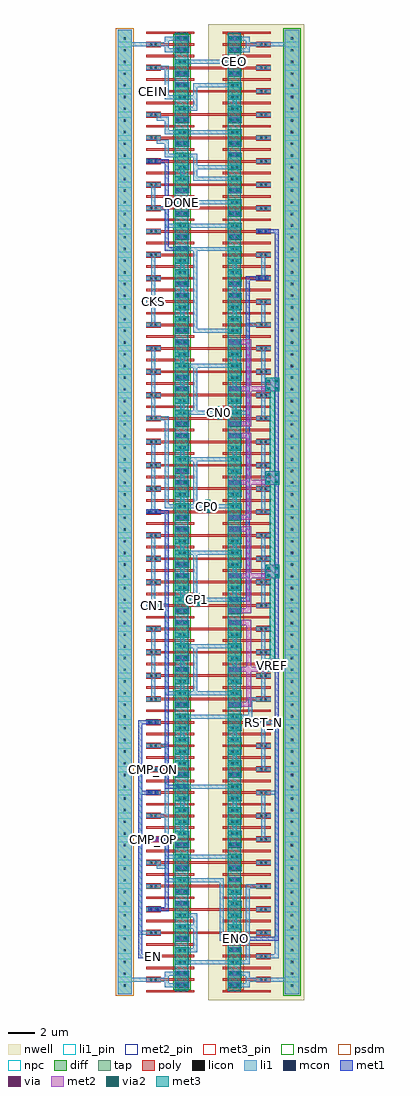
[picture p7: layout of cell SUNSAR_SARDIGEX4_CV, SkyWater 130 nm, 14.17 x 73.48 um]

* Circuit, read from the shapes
.subckt SUNSAR_SARDIGEX4_CV AVDD AVSS CEIN CEO CKS CMP_ON CMP_OP CN0 CN1 CP0 CP1 DONE EN ENO RST_N VREF
XM1 AVSS AVSS AVSS AVSS sky130_fd_pr__nfet_01v8 w=1.08 l=0.18 m=2
XM2 SUNSAR_SARMRYX1_CV_0/SUNSAR_SAREMX1_CV_0/SUNSAR_NCHDL_11/D EN SUNSAR_SARMRYX1_CV_0/SUNSAR_SAREMX1_CV_0/SUNSAR_NCHDL_9/G AVSS sky130_fd_pr__nfet_01v8 w=1.08 l=0.18
XM3 SUNSAR_SARMRYX1_CV_0/SUNSAR_SAREMX1_CV_0/SUNSAR_NCHDL_11/D CMP_ON AVSS AVSS sky130_fd_pr__nfet_01v8 w=1.08 l=0.18
XM4 AVSS CMP_OP SUNSAR_SARMRYX1_CV_0/SUNSAR_SAREMX1_CV_0/SUNSAR_NCHDL_11/D AVSS sky130_fd_pr__nfet_01v8 w=1.08 l=0.18
XM5 ENO SUNSAR_SARMRYX1_CV_0/SUNSAR_SAREMX1_CV_0/SUNSAR_NCHDL_9/G AVSS AVSS sky130_fd_pr__nfet_01v8 w=1.08 l=0.18
XM6 SUNSAR_SARMRYX1_CV_0/SUNSAR_SARLTX1_CV_1/LCK_N ENO AVSS AVSS sky130_fd_pr__nfet_01v8 w=1.08 l=0.18
XM7 SUNSAR_SARMRYX1_CV_0/SUNSAR_SARLTX1_CV_1/SUNSAR_NCHDL_7/D CMP_OP AVSS AVSS sky130_fd_pr__nfet_01v8 w=1.08 l=0.18
XM8 SUNSAR_SARMRYX1_CV_0/SUNSAR_SARLTX1_CV_1/SUNSAR_NCHDL_6/D SUNSAR_SARMRYX1_CV_0/SUNSAR_SARLTX1_CV_1/LCK_N SUNSAR_SARMRYX1_CV_0/SUNSAR_SARLTX1_CV_1/SUNSAR_NCHDL_7/D AVSS sky130_fd_pr__nfet_01v8 w=1.08 l=0.18
XM9 SUNSAR_SWX4_CV_3/A EN SUNSAR_SARMRYX1_CV_0/SUNSAR_SARLTX1_CV_1/SUNSAR_NCHDL_6/D AVSS sky130_fd_pr__nfet_01v8 w=1.08 l=0.18
XM10 SUNSAR_SARMRYX1_CV_0/SUNSAR_SARLTX1_CV_2/SUNSAR_NCHDL_7/D CMP_ON AVSS AVSS sky130_fd_pr__nfet_01v8 w=1.08 l=0.18
XM11 SUNSAR_SARMRYX1_CV_0/SUNSAR_SARLTX1_CV_2/SUNSAR_NCHDL_6/D SUNSAR_SARMRYX1_CV_0/SUNSAR_SARLTX1_CV_1/LCK_N SUNSAR_SARMRYX1_CV_0/SUNSAR_SARLTX1_CV_2/SUNSAR_NCHDL_7/D AVSS sky130_fd_pr__nfet_01v8 w=1.08 l=0.18
XM12 SUNSAR_SWX4_CV_1/A EN SUNSAR_SARMRYX1_CV_0/SUNSAR_SARLTX1_CV_2/SUNSAR_NCHDL_6/D AVSS sky130_fd_pr__nfet_01v8 w=1.08 l=0.18
XM13 CN1 SUNSAR_SWX4_CV_1/A AVSS AVSS sky130_fd_pr__nfet_01v8 w=1.08 l=0.18 m=4
XM14 CP1 CN1 AVSS AVSS sky130_fd_pr__nfet_01v8 w=1.08 l=0.18 m=4
XM15 CP0 SUNSAR_SWX4_CV_3/A AVSS AVSS sky130_fd_pr__nfet_01v8 w=1.08 l=0.18 m=4
XM16 CN0 CP0 AVSS AVSS sky130_fd_pr__nfet_01v8 w=1.08 l=0.18 m=4
XM17 SUNSAR_SARCEX1_CV_5/SUNSAR_NCHDL_12/D CKS AVSS AVSS sky130_fd_pr__nfet_01v8 w=1.08 l=0.18 m=2
XM18 SUNSAR_SARCEX1_CV_5/SUNSAR_NCHDL_10/D CKS AVSS AVSS sky130_fd_pr__nfet_01v8 w=1.08 l=0.18
XM19 SUNSAR_NDX1_CV_27/B CKS SUNSAR_SARCEX1_CV_5/SUNSAR_NCHDL_10/D AVSS sky130_fd_pr__nfet_01v8 w=1.08 l=0.18
XM20 SUNSAR_IVX1_CV_28/A ENO AVSS AVSS sky130_fd_pr__nfet_01v8 w=1.08 l=0.18
XM21 DONE SUNSAR_IVX1_CV_28/A AVSS AVSS sky130_fd_pr__nfet_01v8 w=1.08 l=0.18
XM22 SUNSAR_NDX1_CV_27/SUNSAR_NCHDL_0/D SUNSAR_IVX1_CV_28/A AVSS AVSS sky130_fd_pr__nfet_01v8 w=1.08 l=0.18
XM23 SUNSAR_IVX1_CV_26/A SUNSAR_NDX1_CV_27/B SUNSAR_NDX1_CV_27/SUNSAR_NCHDL_0/D AVSS sky130_fd_pr__nfet_01v8 w=1.08 l=0.18
XM24 SUNSAR_NRX1_CV_25/A SUNSAR_IVX1_CV_26/A AVSS AVSS sky130_fd_pr__nfet_01v8 w=1.08 l=0.18
XM25 SUNSAR_IVX1_CV_24/A SUNSAR_NRX1_CV_25/A AVSS AVSS sky130_fd_pr__nfet_01v8 w=1.08 l=0.18
XM26 AVSS CEIN SUNSAR_IVX1_CV_24/A AVSS sky130_fd_pr__nfet_01v8 w=1.08 l=0.18
XM27 CEO SUNSAR_IVX1_CV_24/A AVSS AVSS sky130_fd_pr__nfet_01v8 w=1.08 l=0.18
XM28 AVDD AVDD AVDD AVDD sky130_fd_pr__pfet_01v8 w=1.08 l=0.18 m=2
XM29 AVDD RST_N SUNSAR_SARMRYX1_CV_0/SUNSAR_SAREMX1_CV_0/SUNSAR_NCHDL_9/G AVDD sky130_fd_pr__pfet_01v8 w=1.08 l=0.18
XM30 SUNSAR_SARMRYX1_CV_0/SUNSAR_SAREMX1_CV_0/SUNSAR_PCHDL_7/D CMP_ON ENO AVDD sky130_fd_pr__pfet_01v8 w=1.08 l=0.18
XM31 SUNSAR_SARMRYX1_CV_0/SUNSAR_SAREMX1_CV_0/SUNSAR_PCHDL_6/D CMP_OP SUNSAR_SARMRYX1_CV_0/SUNSAR_SAREMX1_CV_0/SUNSAR_PCHDL_7/D AVDD sky130_fd_pr__pfet_01v8 w=1.08 l=0.18
XM32 AVDD SUNSAR_SARMRYX1_CV_0/SUNSAR_SAREMX1_CV_0/SUNSAR_NCHDL_9/G SUNSAR_SARMRYX1_CV_0/SUNSAR_SAREMX1_CV_0/SUNSAR_PCHDL_6/D AVDD sky130_fd_pr__pfet_01v8 w=1.08 l=0.18
XM33 SUNSAR_SARMRYX1_CV_0/SUNSAR_SARLTX1_CV_1/LCK_N ENO AVDD AVDD sky130_fd_pr__pfet_01v8 w=1.08 l=0.18
XM34 SUNSAR_SARMRYX1_CV_0/SUNSAR_SARLTX1_CV_1/SUNSAR_PCHDL_4/D RST_N AVDD AVDD sky130_fd_pr__pfet_01v8 w=1.08 l=0.18
XM35 SUNSAR_SARMRYX1_CV_0/SUNSAR_SARLTX1_CV_1/SUNSAR_PCHDL_3/D RST_N SUNSAR_SARMRYX1_CV_0/SUNSAR_SARLTX1_CV_1/SUNSAR_PCHDL_4/D AVDD sky130_fd_pr__pfet_01v8 w=1.08 l=0.18
XM36 SUNSAR_SWX4_CV_3/A RST_N SUNSAR_SARMRYX1_CV_0/SUNSAR_SARLTX1_CV_1/SUNSAR_PCHDL_3/D AVDD sky130_fd_pr__pfet_01v8 w=1.08 l=0.18
XM37 SUNSAR_SARMRYX1_CV_0/SUNSAR_SARLTX1_CV_2/SUNSAR_PCHDL_4/D RST_N AVDD AVDD sky130_fd_pr__pfet_01v8 w=1.08 l=0.18
XM38 SUNSAR_SARMRYX1_CV_0/SUNSAR_SARLTX1_CV_2/SUNSAR_PCHDL_3/D RST_N SUNSAR_SARMRYX1_CV_0/SUNSAR_SARLTX1_CV_2/SUNSAR_PCHDL_4/D AVDD sky130_fd_pr__pfet_01v8 w=1.08 l=0.18
XM39 SUNSAR_SWX4_CV_1/A RST_N SUNSAR_SARMRYX1_CV_0/SUNSAR_SARLTX1_CV_2/SUNSAR_PCHDL_3/D AVDD sky130_fd_pr__pfet_01v8 w=1.08 l=0.18
XM40 CN1 SUNSAR_SWX4_CV_1/A VREF AVDD sky130_fd_pr__pfet_01v8 w=1.08 l=0.18 m=4
XM41 CP1 CN1 VREF AVDD sky130_fd_pr__pfet_01v8 w=1.08 l=0.18 m=4
XM42 CP0 SUNSAR_SWX4_CV_3/A VREF AVDD sky130_fd_pr__pfet_01v8 w=1.08 l=0.18 m=4
XM43 CN0 CP0 VREF AVDD sky130_fd_pr__pfet_01v8 w=1.08 l=0.18 m=4
XM44 SUNSAR_SARCEX1_CV_5/SUNSAR_PCHDL_8/D CN0 SUNSAR_NDX1_CV_27/B AVDD sky130_fd_pr__pfet_01v8 w=1.08 l=0.18
XM45 AVDD CN0 SUNSAR_SARCEX1_CV_5/SUNSAR_PCHDL_8/D AVDD sky130_fd_pr__pfet_01v8 w=1.08 l=0.18
XM46 SUNSAR_SARCEX1_CV_5/SUNSAR_PCHDL_6/D CP1 AVDD AVDD sky130_fd_pr__pfet_01v8 w=1.08 l=0.18
XM47 SUNSAR_NDX1_CV_27/B CP1 SUNSAR_SARCEX1_CV_5/SUNSAR_PCHDL_6/D AVDD sky130_fd_pr__pfet_01v8 w=1.08 l=0.18
XM48 SUNSAR_IVX1_CV_28/A ENO AVDD AVDD sky130_fd_pr__pfet_01v8 w=1.08 l=0.18
XM49 DONE SUNSAR_IVX1_CV_28/A AVDD AVDD sky130_fd_pr__pfet_01v8 w=1.08 l=0.18
XM50 SUNSAR_IVX1_CV_26/A SUNSAR_IVX1_CV_28/A AVDD AVDD sky130_fd_pr__pfet_01v8 w=1.08 l=0.18
XM51 AVDD SUNSAR_NDX1_CV_27/B SUNSAR_IVX1_CV_26/A AVDD sky130_fd_pr__pfet_01v8 w=1.08 l=0.18
XM52 SUNSAR_NRX1_CV_25/A SUNSAR_IVX1_CV_26/A AVDD AVDD sky130_fd_pr__pfet_01v8 w=1.08 l=0.18
XM53 SUNSAR_NRX1_CV_25/SUNSAR_PCHDL_2/D SUNSAR_NRX1_CV_25/A AVDD AVDD sky130_fd_pr__pfet_01v8 w=1.08 l=0.18
XM54 SUNSAR_IVX1_CV_24/A CEIN SUNSAR_NRX1_CV_25/SUNSAR_PCHDL_2/D AVDD sky130_fd_pr__pfet_01v8 w=1.08 l=0.18
XM55 CEO SUNSAR_IVX1_CV_24/A AVDD AVDD sky130_fd_pr__pfet_01v8 w=1.08 l=0.18
.ends

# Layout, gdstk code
import gdstk
lib = gdstk.Library(unit=1e-6, precision=1e-09)
def R(c, l, rs):  # rectangles x0, y0, x1, y1
    for r in rs: c.add(gdstk.rectangle(r[:2], r[2:], *l))
def A(c, l, x, y, w, h, nx, ny, dx, dy):  # array of equal rectangles
    R(c, l, [(x+i*dx, y+j*dy, x+i*dx+w, y+j*dy+h) for i in range(nx) for j in range(ny)])
nwell = (64, 20)
diff = (65, 20)
tap = (65, 44)
poly = (66, 20)
licon = (66, 44)
li1_pin = (67, 16)
li1 = (67, 20)
mcon = (67, 44)
met1 = (68, 20)
via = (68, 44)
met2_pin = (69, 16)
met2 = (69, 20)
via2 = (69, 44)
met3_pin = (70, 16)
met3 = (70, 20)
nsdm = (93, 44)
psdm = (94, 20)
npc = (95, 20)

sunsar_cut_m1m4_2x1 = lib.new_cell('SUNSAR_cut_M1M4_2x1')
R(sunsar_cut_m1m4_2x1, li1, [(0,0,0.92,0.34)])
R(sunsar_cut_m1m4_2x1, mcon, [(0.115,0.085,0.285,0.255), (0.635,0.085,0.805,0.255)])
R(sunsar_cut_m1m4_2x1, met1, [(0,0,0.92,0.34)])
R(sunsar_cut_m1m4_2x1, via, [(0.125,0.095,0.275,0.245), (0.645,0.095,0.795,0.245)])
R(sunsar_cut_m1m4_2x1, met2, [(0,0,1,0.38)])
R(sunsar_cut_m1m4_2x1, via2, [(0.12,0.09,0.32,0.29), (0.68,0.09,0.88,0.29)])
R(sunsar_cut_m1m4_2x1, met3, [(0,0,1,0.38)])

sunsar_pchdl = lib.new_cell('SUNSAR_PCHDL')
R(sunsar_pchdl, nwell, [(0,-0.66,7.2,2.42)])
R(sunsar_pchdl, diff, [(1.44,0.22,2.52,1.54)])
R(sunsar_pchdl, tap, [(5.76,-0.22,6.84,1.98)])
A(sunsar_pchdl, poly, 1.08, -0.09, 3.6, 0.18, 1, 3, 0, 0.88)
R(sunsar_pchdl, poly, [(3.6,0.66,4.68,0.79), (3.6,0.97,4.68,1.1)])
R(sunsar_pchdl, licon, [(1.725,0.355,1.895,0.525), (2.065,0.355,2.235,0.525), (6.215,0.355,6.385,0.525), (3.885,0.795,4.055,0.965), (4.225,0.795,4.395,0.965), (1.725,1.235,1.895,1.405), (2.065,1.235,2.235,1.405), (6.215,1.235,6.385,1.405)])
R(sunsar_pchdl, li1_pin, [(1.44,0.29,2.52,0.59), (5.76,0.66,6.84,1.1), (3.6,0.73,4.68,1.03), (1.44,1.17,2.52,1.47)])
R(sunsar_pchdl, li1, [(5.76,-0.22,6.84,1.98), (1.44,0.29,2.52,0.59), (3.6,0.73,4.68,1.03), (1.44,1.17,2.52,1.47)])
R(sunsar_pchdl, nsdm, [(5.635,-0.345,6.965,2.105)])
R(sunsar_pchdl, psdm, [(1.315,0.095,2.645,1.665)])
R(sunsar_pchdl, npc, [(3.785,0.695,4.495,1.065)])
sunsar_pchdl.add(gdstk.Label('D', (1.98,1.32), layer=67, texttype=5))
sunsar_pchdl.add(gdstk.Label('G', (4.14,0.88), layer=67, texttype=5))
sunsar_pchdl.add(gdstk.Label('S', (1.98,0.44), layer=67, texttype=5))
sunsar_pchdl.add(gdstk.Label('B', (6.3,0.88), layer=67, texttype=5))

sunsar_nchdl = lib.new_cell('SUNSAR_NCHDL')
R(sunsar_nchdl, diff, [(3.78,0.22,4.86,1.54)])
R(sunsar_nchdl, tap, [(-0.54,-0.22,0.54,1.98)])
A(sunsar_nchdl, poly, 1.62, -0.09, 3.6, 0.18, 1, 3, 0, 0.88)
R(sunsar_nchdl, poly, [(1.62,0.66,2.7,0.79), (1.62,0.97,2.7,1.1)])
R(sunsar_nchdl, licon, [(-0.085,0.355,0.085,0.525), (4.065,0.355,4.235,0.525), (4.405,0.355,4.575,0.525), (1.905,0.795,2.075,0.965), (2.245,0.795,2.415,0.965), (-0.085,1.235,0.085,1.405), (4.065,1.235,4.235,1.405), (4.405,1.235,4.575,1.405)])
R(sunsar_nchdl, li1_pin, [(3.78,0.29,4.86,0.59), (-0.54,0.66,0.54,1.1), (1.62,0.73,2.7,1.03), (3.78,1.17,4.86,1.47)])
R(sunsar_nchdl, li1, [(-0.54,-0.22,0.54,1.98), (3.78,0.29,4.86,0.59), (1.62,0.73,2.7,1.03), (3.78,1.17,4.86,1.47)])
R(sunsar_nchdl, nsdm, [(3.655,0.095,4.985,1.665)])
R(sunsar_nchdl, psdm, [(-0.665,-0.345,0.665,2.105)])
R(sunsar_nchdl, npc, [(1.805,0.695,2.515,1.065)])
sunsar_nchdl.add(gdstk.Label('D', (4.32,1.32), layer=67, texttype=5))
sunsar_nchdl.add(gdstk.Label('G', (2.16,0.88), layer=67, texttype=5))
sunsar_nchdl.add(gdstk.Label('S', (4.32,0.44), layer=67, texttype=5))
sunsar_nchdl.add(gdstk.Label('B', (0,0.88), layer=67, texttype=5))

sunsar_saremx1_cv = lib.new_cell('SUNSAR_SAREMX1_CV')
A(sunsar_saremx1_cv, poly, 1.62, 2.55, 9.36, 0.18, 1, 3, 0, 1.76)
A(sunsar_saremx1_cv, li1_pin, 1.62, 0.73, 1.08, 0.3, 1, 3, 0, 1.76)
R(sunsar_saremx1_cv, li1_pin, [(-0.54,0.66,0.54,1.1), (12.06,0.66,13.14,1.1), (9.9,0.73,10.98,1.03), (7.74,2.05,8.82,2.35)])
A(sunsar_saremx1_cv, li1, 1.62, 0.73, 1.08, 0.3, 1, 3, 0, 1.76)
R(sunsar_saremx1_cv, li1, [(3.78,0.29,9.42,0.59), (9.12,0.59,9.42,6.01), (-0.54,0.66,0.54,1.1), (12.06,0.66,13.14,1.1), (9.9,0.73,10.98,1.03), (4.32,1.17,5.46,1.47), (5.16,1.47,5.46,2.93), (7.14,2.05,8.82,2.35), (7.14,2.35,7.44,6.45), (4.32,2.93,5.46,3.23), (8.13,2.93,8.43,4.11), (5.16,3.23,5.46,3.81), (4.32,3.81,5.46,4.11), (8.13,4.69,8.43,5.87), (9.12,6.01,10.44,6.31), (4.32,6.45,7.44,6.75)])
R(sunsar_saremx1_cv, met3_pin, [(3.78,0,4.78,7.04), (7.74,0,8.74,7.04)])
R(sunsar_saremx1_cv, met3, [(3.78,0,4.78,7.04), (7.74,0,8.74,7.04)])
A(sunsar_saremx1_cv, nsdm, 3.655, 1.665, 1.33, 0.19, 1, 3, 0, 1.76)
A(sunsar_saremx1_cv, psdm, 7.615, 1.665, 1.33, 0.19, 1, 3, 0, 1.76)
sunsar_saremx1_cv.add(gdstk.Reference(sunsar_cut_m1m4_2x1, (3.78,5.57)))
sunsar_saremx1_cv.add(gdstk.Reference(sunsar_cut_m1m4_2x1, (3.78,4.69)))
sunsar_saremx1_cv.add(gdstk.Reference(sunsar_cut_m1m4_2x1, (3.78,2.05)))
sunsar_saremx1_cv.add(gdstk.Reference(sunsar_cut_m1m4_2x1, (7.74,6.45)))
sunsar_saremx1_cv.add(gdstk.Reference(sunsar_cut_m1m4_2x1, (7.74,1.17)))
sunsar_saremx1_cv.add(gdstk.Reference(sunsar_pchdl, (6.3,5.28)))
sunsar_saremx1_cv.add(gdstk.Reference(sunsar_pchdl, (6.3,3.52)))
sunsar_saremx1_cv.add(gdstk.Reference(sunsar_pchdl, (6.3,1.76)))
sunsar_saremx1_cv.add(gdstk.Reference(sunsar_pchdl, (6.3,0)))
sunsar_saremx1_cv.add(gdstk.Reference(sunsar_nchdl, (0,5.28)))
sunsar_saremx1_cv.add(gdstk.Reference(sunsar_nchdl, (0,3.52)))
sunsar_saremx1_cv.add(gdstk.Reference(sunsar_nchdl, (0,1.76)))
sunsar_saremx1_cv.add(gdstk.Reference(sunsar_nchdl, (0,0)))
sunsar_saremx1_cv.add(gdstk.Label('A', (2.16,4.4), layer=67, texttype=5))
sunsar_saremx1_cv.add(gdstk.Label('B', (2.16,2.64), layer=67, texttype=5))
sunsar_saremx1_cv.add(gdstk.Label('EN', (2.16,0.88), layer=67, texttype=5))
sunsar_saremx1_cv.add(gdstk.Label('ENO', (8.28,2.2), layer=67, texttype=5))
sunsar_saremx1_cv.add(gdstk.Label('RST_N', (10.44,0.88), layer=67, texttype=5))
sunsar_saremx1_cv.add(gdstk.Label('BULKP', (12.6,0.88), layer=67, texttype=5))
sunsar_saremx1_cv.add(gdstk.Label('BULKN', (0,0.88), layer=67, texttype=5))
sunsar_saremx1_cv.add(gdstk.Label('AVDD', (8.24,3.52), layer=70, texttype=5))
sunsar_saremx1_cv.add(gdstk.Label('AVSS', (4.28,3.52), layer=70, texttype=5))

sunsar_sarltx1_cv = lib.new_cell('SUNSAR_SARLTX1_CV')
A(sunsar_sarltx1_cv, li1_pin, 1.62, 0.73, 1.08, 0.3, 1, 3, 0, 1.76)
R(sunsar_sarltx1_cv, li1_pin, [(-0.54,0.66,0.54,1.1), (12.06,0.66,13.14,1.1), (9.9,4.25,10.98,4.55), (3.78,4.69,4.86,4.99)])
A(sunsar_sarltx1_cv, li1, 1.62, 0.73, 1.08, 0.3, 1, 3, 0, 1.76)
R(sunsar_sarltx1_cv, li1, [(-0.54,0.66,0.54,1.1), (12.06,0.66,13.14,1.1), (10.29,0.73,10.59,4.25), (4.17,1.17,4.47,2.35), (8.13,1.17,8.43,2.35), (4.17,2.93,4.47,4.11), (8.13,2.93,8.43,4.11), (9.9,4.25,10.98,4.55), (3.78,4.69,8.28,4.99)])
R(sunsar_sarltx1_cv, met3_pin, [(3.78,0,4.78,5.28), (7.74,0,8.74,5.28)])
R(sunsar_sarltx1_cv, met3, [(3.78,0,4.78,5.28), (7.74,0,8.74,5.28)])
R(sunsar_sarltx1_cv, nsdm, [(3.655,1.665,4.985,1.855), (3.655,3.425,4.985,3.615)])
R(sunsar_sarltx1_cv, psdm, [(7.615,1.665,8.945,1.855), (7.615,3.425,8.945,3.615)])
sunsar_sarltx1_cv.add(gdstk.Reference(sunsar_cut_m1m4_2x1, (3.78,0.29)))
sunsar_sarltx1_cv.add(gdstk.Reference(sunsar_cut_m1m4_2x1, (7.74,0.29)))
sunsar_sarltx1_cv.add(gdstk.Reference(sunsar_pchdl, (6.3,3.52)))
sunsar_sarltx1_cv.add(gdstk.Reference(sunsar_pchdl, (6.3,1.76)))
sunsar_sarltx1_cv.add(gdstk.Reference(sunsar_pchdl, (6.3,0)))
sunsar_sarltx1_cv.add(gdstk.Reference(sunsar_nchdl, (0,3.52)))
sunsar_sarltx1_cv.add(gdstk.Reference(sunsar_nchdl, (0,1.76)))
sunsar_sarltx1_cv.add(gdstk.Reference(sunsar_nchdl, (0,0)))
sunsar_sarltx1_cv.add(gdstk.Label('A', (2.16,0.88), layer=67, texttype=5))
sunsar_sarltx1_cv.add(gdstk.Label('CHL', (4.32,4.84), layer=67, texttype=5))
sunsar_sarltx1_cv.add(gdstk.Label('RST_N', (10.44,4.4), layer=67, texttype=5))
sunsar_sarltx1_cv.add(gdstk.Label('EN', (2.16,4.4), layer=67, texttype=5))
sunsar_sarltx1_cv.add(gdstk.Label('LCK_N', (2.16,2.64), layer=67, texttype=5))
sunsar_sarltx1_cv.add(gdstk.Label('BULKP', (12.6,0.88), layer=67, texttype=5))
sunsar_sarltx1_cv.add(gdstk.Label('BULKN', (0,0.88), layer=67, texttype=5))
sunsar_sarltx1_cv.add(gdstk.Label('AVDD', (8.24,2.64), layer=70, texttype=5))
sunsar_sarltx1_cv.add(gdstk.Label('AVSS', (4.28,2.64), layer=70, texttype=5))

sunsar_cut_m1m2_2x1 = lib.new_cell('SUNSAR_cut_M1M2_2x1')
R(sunsar_cut_m1m2_2x1, li1, [(0,0,0.92,0.34)])
R(sunsar_cut_m1m2_2x1, mcon, [(0.115,0.085,0.285,0.255), (0.635,0.085,0.805,0.255)])
R(sunsar_cut_m1m2_2x1, met1, [(0,0,0.92,0.34)])

sunsar_ivx1_cv = lib.new_cell('SUNSAR_IVX1_CV')
R(sunsar_ivx1_cv, poly, [(1.62,0.79,10.98,0.97)])
R(sunsar_ivx1_cv, li1_pin, [(-0.54,0.66,0.54,1.1), (12.06,0.66,13.14,1.1), (1.62,0.73,2.7,1.03), (3.78,1.17,4.86,1.47)])
R(sunsar_ivx1_cv, li1, [(-0.54,0.66,0.54,1.1), (12.06,0.66,13.14,1.1), (1.62,0.73,2.7,1.03), (3.78,1.17,8.28,1.47)])
R(sunsar_ivx1_cv, met3_pin, [(3.78,0,4.78,1.76), (7.74,0,8.74,1.76)])
R(sunsar_ivx1_cv, met3, [(3.78,0,4.78,1.76), (7.74,0,8.74,1.76)])
sunsar_ivx1_cv.add(gdstk.Reference(sunsar_nchdl, (0,0)))
sunsar_ivx1_cv.add(gdstk.Reference(sunsar_pchdl, (6.3,0)))
sunsar_ivx1_cv.add(gdstk.Reference(sunsar_cut_m1m4_2x1, (7.74,0.29)))
sunsar_ivx1_cv.add(gdstk.Reference(sunsar_cut_m1m4_2x1, (3.78,0.29)))
sunsar_ivx1_cv.add(gdstk.Label('A', (2.16,0.88), layer=67, texttype=5))
sunsar_ivx1_cv.add(gdstk.Label('Y', (4.32,1.32), layer=67, texttype=5))
sunsar_ivx1_cv.add(gdstk.Label('BULKP', (12.6,0.88), layer=67, texttype=5))
sunsar_ivx1_cv.add(gdstk.Label('BULKN', (0,0.88), layer=67, texttype=5))
sunsar_ivx1_cv.add(gdstk.Label('AVDD', (8.24,0.88), layer=70, texttype=5))
sunsar_ivx1_cv.add(gdstk.Label('AVSS', (4.28,0.88), layer=70, texttype=5))

sunsar_tapcellb_cv = lib.new_cell('SUNSAR_TAPCELLB_CV')
R(sunsar_tapcellb_cv, li1, [(3,0.29,4.32,0.59), (8.28,0.29,9.42,0.59), (3,0.59,3.3,0.73), (9.12,0.59,9.42,0.73), (-0.54,0.73,3.3,1.03), (9.12,0.73,13.14,1.03), (3,1.03,3.3,1.17), (9.12,1.03,9.42,1.17), (3,1.17,4.32,1.47), (8.28,1.17,9.42,1.47)])
R(sunsar_tapcellb_cv, met3_pin, [(3.78,0,4.78,1.76), (7.74,0,8.74,1.76)])
R(sunsar_tapcellb_cv, met3, [(3.78,0,4.78,1.76), (7.74,0,8.74,1.76)])
sunsar_tapcellb_cv.add(gdstk.Reference(sunsar_nchdl, (0,0)))
sunsar_tapcellb_cv.add(gdstk.Reference(sunsar_pchdl, (6.3,0)))
sunsar_tapcellb_cv.add(gdstk.Reference(sunsar_cut_m1m4_2x1, (7.74,1.17)))
sunsar_tapcellb_cv.add(gdstk.Reference(sunsar_cut_m1m4_2x1, (7.74,0.29)))
sunsar_tapcellb_cv.add(gdstk.Reference(sunsar_cut_m1m4_2x1, (3.78,1.17)))
sunsar_tapcellb_cv.add(gdstk.Reference(sunsar_cut_m1m4_2x1, (3.78,0.29)))
sunsar_tapcellb_cv.add(gdstk.Label('AVDD', (8.24,0.88), layer=70, texttype=5))
sunsar_tapcellb_cv.add(gdstk.Label('AVSS', (4.28,0.88), layer=70, texttype=5))

sunsar_sarmryx1_cv = lib.new_cell('SUNSAR_SARMRYX1_CV')
R(sunsar_sarmryx1_cv, li1_pin, [(1.62,2.49,2.7,2.79), (7.74,3.81,8.82,4.11), (1.62,11.29,2.7,11.59), (3.78,15.25,4.86,15.55), (1.62,16.57,2.7,16.87), (9.9,20.09,10.98,20.39), (3.78,20.53,4.86,20.83)])
R(sunsar_sarmryx1_cv, li1, [(1.62,2.49,2.7,2.79), (10.44,2.49,11.58,2.79), (11.28,2.79,11.58,14.81), (7.74,3.81,8.82,4.11), (1.02,4.25,2.16,4.55), (1.02,4.55,1.32,16.57), (3,8.21,4.32,8.51), (3,8.51,3.3,9.23), (2.4,9.23,3.3,9.53), (2.4,9.53,2.7,9.83), (3,9.97,4.32,10.27), (3,10.27,3.3,13.05), (1.62,11.29,2.7,11.59), (2.16,13.05,3.3,13.35), (3,13.35,3.3,18.33), (10.44,14.81,11.58,15.11), (11.28,15.11,11.58,20.09), (3.78,15.25,4.86,15.55), (1.02,16.57,2.7,16.87), (2.16,18.33,3.3,18.63), (9.9,20.09,11.58,20.39), (3.78,20.53,4.86,20.83)])
R(sunsar_sarmryx1_cv, met1, [(1.02,2.49,2.16,2.79), (1.02,2.79,1.32,14.81), (2.16,6.01,3.3,6.31), (3,6.31,3.3,11.29), (2.16,11.29,3.3,11.59), (1.02,14.81,2.16,15.11), (1.02,15.11,1.32,20.09), (1.02,20.09,2.16,20.39)])
R(sunsar_sarmryx1_cv, met3_pin, [(3.78,0,4.78,21.12), (7.74,0,8.74,21.12)])
R(sunsar_sarmryx1_cv, met3, [(3.78,0,4.78,21.12), (7.74,0,8.74,21.12)])
R(sunsar_sarmryx1_cv, nsdm, [(3.655,1.665,4.985,1.855), (3.655,8.705,4.985,8.895), (3.655,10.465,4.985,10.655), (3.655,15.745,4.985,15.935)])
R(sunsar_sarmryx1_cv, psdm, [(7.615,1.665,8.945,1.855), (7.615,8.705,8.945,8.895), (7.615,10.465,8.945,10.655), (7.615,15.745,8.945,15.935)])
sunsar_sarmryx1_cv.add(gdstk.Reference(sunsar_saremx1_cv, (0,1.76)))
sunsar_sarmryx1_cv.add(gdstk.Reference(sunsar_sarltx1_cv, (0,10.56)))
sunsar_sarmryx1_cv.add(gdstk.Reference(sunsar_sarltx1_cv, (0,15.84)))
sunsar_sarmryx1_cv.add(gdstk.Reference(sunsar_cut_m1m2_2x1, (1.62,14.81)))
sunsar_sarmryx1_cv.add(gdstk.Reference(sunsar_cut_m1m2_2x1, (1.62,20.09)))
sunsar_sarmryx1_cv.add(gdstk.Reference(sunsar_cut_m1m2_2x1, (1.62,2.49)))
sunsar_sarmryx1_cv.add(gdstk.Reference(sunsar_cut_m1m2_2x1, (1.78,11.29)))
sunsar_sarmryx1_cv.add(gdstk.Reference(sunsar_cut_m1m2_2x1, (1.78,6.01)))
sunsar_sarmryx1_cv.add(gdstk.Reference(sunsar_ivx1_cv, (0,8.8)))
sunsar_sarmryx1_cv.add(gdstk.Reference(sunsar_tapcellb_cv, (0,0)))
sunsar_sarmryx1_cv.add(gdstk.Label('CMP_OP', (2.16,11.44), layer=67, texttype=5))
sunsar_sarmryx1_cv.add(gdstk.Label('CMP_ON', (2.16,16.72), layer=67, texttype=5))
sunsar_sarmryx1_cv.add(gdstk.Label('EN', (2.16,2.64), layer=67, texttype=5))
sunsar_sarmryx1_cv.add(gdstk.Label('RST_N', (10.44,20.24), layer=67, texttype=5))
sunsar_sarmryx1_cv.add(gdstk.Label('ENO', (8.28,3.96), layer=67, texttype=5))
sunsar_sarmryx1_cv.add(gdstk.Label('CHL_OP', (4.32,15.4), layer=67, texttype=5))
sunsar_sarmryx1_cv.add(gdstk.Label('CHL_ON', (4.32,20.68), layer=67, texttype=5))
sunsar_sarmryx1_cv.add(gdstk.Label('AVDD', (8.24,10.56), layer=70, texttype=5))
sunsar_sarmryx1_cv.add(gdstk.Label('AVSS', (4.28,10.56), layer=70, texttype=5))

sunsar_cut_m3m4_2x2 = lib.new_cell('SUNSAR_cut_M3M4_2x2')
R(sunsar_cut_m3m4_2x2, met2, [(0,0,1,1)])
R(sunsar_cut_m3m4_2x2, via2, [(0.12,0.12,0.32,0.32), (0.68,0.12,0.88,0.32), (0.12,0.68,0.32,0.88), (0.68,0.68,0.88,0.88)])
R(sunsar_cut_m3m4_2x2, met3, [(0,0,1,1)])

sunsar_cut_m1m3_2x1 = lib.new_cell('SUNSAR_cut_M1M3_2x1')
R(sunsar_cut_m1m3_2x1, li1, [(0,0,0.92,0.34)])
R(sunsar_cut_m1m3_2x1, mcon, [(0.115,0.085,0.285,0.255), (0.635,0.085,0.805,0.255)])
R(sunsar_cut_m1m3_2x1, met1, [(0,0,0.92,0.34)])
R(sunsar_cut_m1m3_2x1, via, [(0.125,0.095,0.275,0.245), (0.645,0.095,0.795,0.245)])
R(sunsar_cut_m1m3_2x1, met2, [(0,0,1,0.38)])

sunsar_swx4_cv = lib.new_cell('SUNSAR_SWX4_CV')
A(sunsar_swx4_cv, poly, 1.62, 0.79, 9.36, 0.18, 1, 4, 0, 1.76)
R(sunsar_swx4_cv, li1_pin, [(-0.54,0.66,0.54,1.1), (12.06,0.66,13.14,1.1), (1.62,0.73,2.7,1.03), (3.78,1.17,4.86,1.47)])
R(sunsar_swx4_cv, li1, [(-0.54,0.66,0.54,1.1), (12.06,0.66,13.14,1.1), (1.62,0.73,2.7,1.03), (10.29,0.73,10.59,6.31), (2.01,1.03,2.31,6.31), (3.78,1.17,8.43,1.47), (4.17,1.47,4.47,2.35), (5.16,1.47,5.46,4.69), (8.13,1.47,8.43,2.35), (4.17,2.93,4.47,4.11), (8.13,2.93,8.43,4.11), (4.17,4.69,8.43,4.99), (4.17,4.99,4.47,5.87), (8.13,4.99,8.43,5.87)])
R(sunsar_swx4_cv, met2, [(8.28,0.29,9.52,0.67), (9.14,0.67,9.52,2.93), (8.28,2.93,11.12,3.31), (9.14,3.31,9.52,6.45), (8.28,6.45,9.52,6.83)])
R(sunsar_swx4_cv, met3_pin, [(3.78,0,4.78,7.04), (10.62,2.93,11.62,3.93)])
R(sunsar_swx4_cv, met3, [(3.78,0,4.78,7.04), (10.62,2.93,11.62,3.93)])
A(sunsar_swx4_cv, nsdm, 3.655, 1.665, 1.33, 0.19, 1, 3, 0, 1.76)
A(sunsar_swx4_cv, psdm, 7.615, 1.665, 1.33, 0.19, 1, 3, 0, 1.76)
sunsar_swx4_cv.add(gdstk.Reference(sunsar_cut_m3m4_2x2, (10.62,2.93)))
sunsar_swx4_cv.add(gdstk.Reference(sunsar_cut_m1m4_2x1, (3.78,6.45)))
sunsar_swx4_cv.add(gdstk.Reference(sunsar_cut_m1m4_2x1, (3.78,3.81)))
sunsar_swx4_cv.add(gdstk.Reference(sunsar_cut_m1m4_2x1, (3.78,2.93)))
sunsar_swx4_cv.add(gdstk.Reference(sunsar_cut_m1m4_2x1, (3.78,0.29)))
sunsar_swx4_cv.add(gdstk.Reference(sunsar_cut_m1m3_2x1, (7.74,6.45)))
sunsar_swx4_cv.add(gdstk.Reference(sunsar_cut_m1m3_2x1, (7.74,2.93)))
sunsar_swx4_cv.add(gdstk.Reference(sunsar_cut_m1m3_2x1, (7.74,0.29)))
sunsar_swx4_cv.add(gdstk.Reference(sunsar_pchdl, (6.3,5.28)))
sunsar_swx4_cv.add(gdstk.Reference(sunsar_pchdl, (6.3,3.52)))
sunsar_swx4_cv.add(gdstk.Reference(sunsar_pchdl, (6.3,1.76)))
sunsar_swx4_cv.add(gdstk.Reference(sunsar_pchdl, (6.3,0)))
sunsar_swx4_cv.add(gdstk.Reference(sunsar_nchdl, (0,5.28)))
sunsar_swx4_cv.add(gdstk.Reference(sunsar_nchdl, (0,3.52)))
sunsar_swx4_cv.add(gdstk.Reference(sunsar_nchdl, (0,1.76)))
sunsar_swx4_cv.add(gdstk.Reference(sunsar_nchdl, (0,0)))
sunsar_swx4_cv.add(gdstk.Label('A', (2.16,0.88), layer=67, texttype=5))
sunsar_swx4_cv.add(gdstk.Label('Y', (4.32,1.32), layer=67, texttype=5))
sunsar_swx4_cv.add(gdstk.Label('VREF', (11.12,3.43), layer=70, texttype=5))
sunsar_swx4_cv.add(gdstk.Label('AVSS', (4.28,3.52), layer=70, texttype=5))
sunsar_swx4_cv.add(gdstk.Label('BULKP', (12.6,0.88), layer=67, texttype=5))
sunsar_swx4_cv.add(gdstk.Label('BULKN', (0,0.88), layer=67, texttype=5))

sunsar_sarcex1_cv = lib.new_cell('SUNSAR_SARCEX1_CV')
R(sunsar_sarcex1_cv, li1_pin, [(-0.54,0.66,0.54,1.1), (12.06,0.66,13.14,1.1), (9.9,0.73,10.98,1.03), (1.62,2.49,2.7,2.79), (9.9,4.25,10.98,4.55), (3.78,6.45,4.86,6.75)])
A(sunsar_sarcex1_cv, li1, 4.17, 1.17, 0.3, 1.18, 1, 3, 0, 1.76)
A(sunsar_sarcex1_cv, li1, 8.13, 1.17, 0.3, 1.18, 1, 3, 0, 1.76)
R(sunsar_sarcex1_cv, li1, [(5.16,0.29,8.28,0.59), (5.16,0.59,5.46,6.45), (-0.54,0.66,0.54,1.1), (12.06,0.66,13.14,1.1), (2.01,0.73,2.31,2.49), (9.9,0.73,10.98,1.03), (10.29,1.03,10.59,2.79), (1.62,2.49,2.7,2.79), (2.01,2.79,2.31,6.31), (9.9,4.25,10.98,4.55), (10.29,4.55,10.59,6.31), (3.78,6.45,8.28,6.75)])
R(sunsar_sarcex1_cv, met3_pin, [(3.78,0,4.78,7.04), (7.74,0,8.74,7.04)])
R(sunsar_sarcex1_cv, met3, [(3.78,0,4.78,7.04), (7.74,0,8.74,7.04)])
A(sunsar_sarcex1_cv, nsdm, 3.655, 1.665, 1.33, 0.19, 1, 3, 0, 1.76)
A(sunsar_sarcex1_cv, psdm, 7.615, 1.665, 1.33, 0.19, 1, 3, 0, 1.76)
sunsar_sarcex1_cv.add(gdstk.Reference(sunsar_cut_m1m4_2x1, (3.78,3.81)))
sunsar_sarcex1_cv.add(gdstk.Reference(sunsar_cut_m1m4_2x1, (3.78,2.93)))
sunsar_sarcex1_cv.add(gdstk.Reference(sunsar_cut_m1m4_2x1, (3.78,0.29)))
sunsar_sarcex1_cv.add(gdstk.Reference(sunsar_cut_m1m4_2x1, (7.74,3.81)))
sunsar_sarcex1_cv.add(gdstk.Reference(sunsar_cut_m1m4_2x1, (7.74,2.93)))
sunsar_sarcex1_cv.add(gdstk.Reference(sunsar_pchdl, (6.3,5.28)))
sunsar_sarcex1_cv.add(gdstk.Reference(sunsar_pchdl, (6.3,3.52)))
sunsar_sarcex1_cv.add(gdstk.Reference(sunsar_pchdl, (6.3,1.76)))
sunsar_sarcex1_cv.add(gdstk.Reference(sunsar_pchdl, (6.3,0)))
sunsar_sarcex1_cv.add(gdstk.Reference(sunsar_nchdl, (0,5.28)))
sunsar_sarcex1_cv.add(gdstk.Reference(sunsar_nchdl, (0,3.52)))
sunsar_sarcex1_cv.add(gdstk.Reference(sunsar_nchdl, (0,1.76)))
sunsar_sarcex1_cv.add(gdstk.Reference(sunsar_nchdl, (0,0)))
sunsar_sarcex1_cv.add(gdstk.Label('A', (10.44,0.88), layer=67, texttype=5))
sunsar_sarcex1_cv.add(gdstk.Label('B', (10.44,4.4), layer=67, texttype=5))
sunsar_sarcex1_cv.add(gdstk.Label('Y', (4.32,6.6), layer=67, texttype=5))
sunsar_sarcex1_cv.add(gdstk.Label('RST', (2.16,2.64), layer=67, texttype=5))
sunsar_sarcex1_cv.add(gdstk.Label('BULKP', (12.6,0.88), layer=67, texttype=5))
sunsar_sarcex1_cv.add(gdstk.Label('BULKN', (0,0.88), layer=67, texttype=5))
sunsar_sarcex1_cv.add(gdstk.Label('AVDD', (8.24,3.52), layer=70, texttype=5))
sunsar_sarcex1_cv.add(gdstk.Label('AVSS', (4.28,3.52), layer=70, texttype=5))

sunsar_cut_m2m3_2x1 = lib.new_cell('SUNSAR_cut_M2M3_2x1')
R(sunsar_cut_m2m3_2x1, met1, [(0,0,0.92,0.34)])
R(sunsar_cut_m2m3_2x1, via, [(0.125,0.095,0.275,0.245), (0.645,0.095,0.795,0.245)])
R(sunsar_cut_m2m3_2x1, met2, [(0,0,1,0.38)])

sunsar_cut_m1m4_1x2 = lib.new_cell('SUNSAR_cut_M1M4_1x2')
R(sunsar_cut_m1m4_1x2, li1, [(0,0,0.34,0.92)])
R(sunsar_cut_m1m4_1x2, mcon, [(0.085,0.115,0.255,0.285), (0.085,0.635,0.255,0.805)])
R(sunsar_cut_m1m4_1x2, met1, [(0,0,0.34,0.92)])
R(sunsar_cut_m1m4_1x2, via, [(0.095,0.125,0.245,0.275), (0.095,0.645,0.245,0.795)])
R(sunsar_cut_m1m4_1x2, met2, [(0,0,0.38,1)])
R(sunsar_cut_m1m4_1x2, via2, [(0.09,0.12,0.29,0.32), (0.09,0.68,0.29,0.88)])
R(sunsar_cut_m1m4_1x2, met3, [(0,0,0.38,1)])

sunsar_nrx1_cv = lib.new_cell('SUNSAR_NRX1_CV')
R(sunsar_nrx1_cv, poly, [(1.62,0.79,10.98,0.97), (1.62,2.55,10.98,2.73)])
R(sunsar_nrx1_cv, li1_pin, [(-0.54,0.66,0.54,1.1), (12.06,0.66,13.14,1.1), (1.62,0.73,2.7,1.03), (3.78,2.05,4.86,2.35), (1.62,2.49,2.7,2.79)])
R(sunsar_nrx1_cv, li1, [(-0.54,0.66,0.54,1.1), (12.06,0.66,13.14,1.1), (1.62,0.73,2.7,1.03), (4.32,1.17,5.46,1.47), (8.13,1.17,8.43,2.35), (5.16,1.47,5.46,2.05), (3.78,2.05,5.46,2.35), (5.16,2.35,5.46,2.93), (1.62,2.49,2.7,2.79), (5.16,2.93,8.28,3.23)])
R(sunsar_nrx1_cv, met3_pin, [(3.78,0,4.78,3.52), (7.74,0,8.74,3.52)])
R(sunsar_nrx1_cv, met3, [(3.78,0,4.78,3.52), (7.74,0,8.74,3.52)])
R(sunsar_nrx1_cv, nsdm, [(3.655,1.665,4.985,1.855)])
R(sunsar_nrx1_cv, psdm, [(7.615,1.665,8.945,1.855)])
sunsar_nrx1_cv.add(gdstk.Reference(sunsar_nchdl, (0,0)))
sunsar_nrx1_cv.add(gdstk.Reference(sunsar_nchdl, (0,1.76)))
sunsar_nrx1_cv.add(gdstk.Reference(sunsar_pchdl, (6.3,0)))
sunsar_nrx1_cv.add(gdstk.Reference(sunsar_pchdl, (6.3,1.76)))
sunsar_nrx1_cv.add(gdstk.Reference(sunsar_cut_m1m4_2x1, (7.74,0.29)))
sunsar_nrx1_cv.add(gdstk.Reference(sunsar_cut_m1m4_2x1, (3.78,0.29)))
sunsar_nrx1_cv.add(gdstk.Reference(sunsar_cut_m1m4_2x1, (3.78,2.93)))
sunsar_nrx1_cv.add(gdstk.Label('A', (2.16,0.88), layer=67, texttype=5))
sunsar_nrx1_cv.add(gdstk.Label('B', (2.16,2.64), layer=67, texttype=5))
sunsar_nrx1_cv.add(gdstk.Label('Y', (4.32,2.2), layer=67, texttype=5))
sunsar_nrx1_cv.add(gdstk.Label('BULKP', (12.6,0.88), layer=67, texttype=5))
sunsar_nrx1_cv.add(gdstk.Label('BULKN', (0,0.88), layer=67, texttype=5))
sunsar_nrx1_cv.add(gdstk.Label('AVDD', (8.24,1.76), layer=70, texttype=5))
sunsar_nrx1_cv.add(gdstk.Label('AVSS', (4.28,1.76), layer=70, texttype=5))

sunsar_ndx1_cv = lib.new_cell('SUNSAR_NDX1_CV')
R(sunsar_ndx1_cv, poly, [(1.62,0.79,10.98,0.97), (1.62,2.55,10.98,2.73)])
R(sunsar_ndx1_cv, li1_pin, [(-0.54,0.66,0.54,1.1), (12.06,0.66,13.14,1.1), (1.62,0.73,2.7,1.03), (1.62,2.49,2.7,2.79), (3.78,2.93,4.86,3.23)])
R(sunsar_ndx1_cv, li1, [(-0.54,0.66,0.54,1.1), (12.06,0.66,13.14,1.1), (1.62,0.73,2.7,1.03), (4.17,1.17,4.47,2.35), (5.16,1.17,8.28,1.47), (5.16,1.47,5.46,2.05), (5.16,2.05,8.28,2.35), (5.16,2.35,5.46,2.93), (1.62,2.49,2.7,2.79), (3.78,2.93,5.46,3.23)])
R(sunsar_ndx1_cv, met3_pin, [(3.78,0,4.78,3.52), (7.74,0,8.74,3.52)])
R(sunsar_ndx1_cv, met3, [(3.78,0,4.78,3.52), (7.74,0,8.74,3.52)])
R(sunsar_ndx1_cv, nsdm, [(3.655,1.665,4.985,1.855)])
R(sunsar_ndx1_cv, psdm, [(7.615,1.665,8.945,1.855)])
sunsar_ndx1_cv.add(gdstk.Reference(sunsar_nchdl, (0,0)))
sunsar_ndx1_cv.add(gdstk.Reference(sunsar_nchdl, (0,1.76)))
sunsar_ndx1_cv.add(gdstk.Reference(sunsar_pchdl, (6.3,0)))
sunsar_ndx1_cv.add(gdstk.Reference(sunsar_pchdl, (6.3,1.76)))
sunsar_ndx1_cv.add(gdstk.Reference(sunsar_cut_m1m4_2x1, (7.74,0.29)))
sunsar_ndx1_cv.add(gdstk.Reference(sunsar_cut_m1m4_2x1, (7.74,2.93)))
sunsar_ndx1_cv.add(gdstk.Reference(sunsar_cut_m1m4_2x1, (3.78,0.29)))
sunsar_ndx1_cv.add(gdstk.Label('A', (2.16,0.88), layer=67, texttype=5))
sunsar_ndx1_cv.add(gdstk.Label('B', (2.16,2.64), layer=67, texttype=5))
sunsar_ndx1_cv.add(gdstk.Label('Y', (4.32,3.08), layer=67, texttype=5))
sunsar_ndx1_cv.add(gdstk.Label('BULKP', (12.6,0.88), layer=67, texttype=5))
sunsar_ndx1_cv.add(gdstk.Label('BULKN', (0,0.88), layer=67, texttype=5))
sunsar_ndx1_cv.add(gdstk.Label('AVDD', (8.24,1.76), layer=70, texttype=5))
sunsar_ndx1_cv.add(gdstk.Label('AVSS', (4.28,1.76), layer=70, texttype=5))

sunsar_sardigex4_cv = lib.new_cell('SUNSAR_SARDIGEX4_CV')
R(sunsar_sardigex4_cv, li1_pin, [(1.62,16.57,2.7,16.87), (9.9,20.09,10.98,20.39), (1.62,51.77,2.7,52.07), (3.78,59.25,4.86,59.55), (1.62,67.61,2.7,67.91), (7.74,69.81,8.82,70.11)])
R(sunsar_sardigex4_cv, li1, [(1.62,16.57,2.7,16.87), (9.9,20.09,10.98,20.39), (8.28,20.53,9.6,20.83), (9.3,20.83,9.6,21.85), (9.3,21.85,10.44,22.15), (3,22.29,4.32,22.59), (3,22.59,3.3,28.89), (2.16,28.89,3.3,29.19), (3,36.37,4.32,36.67), (3,36.67,3.3,42.97), (2.16,42.97,3.3,43.27), (8.28,43.41,9.42,43.71), (9.12,43.71,9.42,50.01), (9.12,50.01,10.44,50.31), (1.62,51.77,2.7,52.07), (3,57.49,4.32,57.79), (3,57.79,3.3,58.81), (2.01,58.81,3.3,59.11), (2.01,59.11,2.31,60.87), (3.78,59.25,4.86,59.55), (3,62.77,4.32,63.07), (3,63.07,3.3,63.79), (2.4,63.79,3.3,64.09), (2.4,64.09,2.7,64.39), (3,64.53,4.32,64.83), (3,64.83,3.3,65.55), (2.4,65.55,3.3,65.85), (2.4,65.85,2.7,66.15), (3,67.17,4.32,67.47), (3,67.47,3.3,69.37), (1.62,67.61,2.7,67.91), (2.16,69.37,3.3,69.67), (7.74,69.81,8.82,70.11)])
R(sunsar_sardigex4_cv, met1, [(8.28,3.81,11.58,4.11), (11.28,4.11,11.58,57.05), (3,15.25,4.32,15.55), (3,15.55,3.3,35.93), (8.28,29.33,9.42,29.63), (9.12,29.63,9.42,53.53), (2.16,35.93,3.3,36.23), (9.12,53.53,10.44,53.83), (3,55.73,4.32,56.03), (3,56.03,3.3,62.33), (10.44,57.05,11.58,57.35), (2.16,62.33,3.3,62.63)])
R(sunsar_sardigex4_cv, met2_pin, [(1.7,2.45,2.7,2.83), (7.82,3.77,8.82,4.15), (1.7,11.25,2.7,11.63)])
R(sunsar_sardigex4_cv, met2, [(1.7,2.45,2.7,2.83), (7.82,3.77,8.82,4.15), (1.7,11.25,2.7,11.63)])
R(sunsar_sardigex4_cv, met3_pin, [(3.78,0,4.78,72.16), (7.74,0,8.74,72.16), (10.62,24.05,11.62,25.05), (1.7,28.85,2.7,29.23), (5.275,28.98,5.655,29.98), (6.075,36.02,6.455,37.02), (6.95,43.06,7.33,44.06)])
R(sunsar_sardigex4_cv, met3, [(3.78,0,4.78,72.16), (7.74,0,8.74,72.16), (10.62,24.05,11.62,25.05), (10.93,25.05,11.31,46.17), (1.7,28.85,2.7,29.23), (5.275,28.98,5.655,29.98), (6.075,36.02,6.455,37.02), (6.95,43.06,7.33,44.06)])
A(sunsar_sardigex4_cv, nsdm, 3.655, 21.025, 1.33, 0.19, 1, 6, 0, 7.04)
R(sunsar_sardigex4_cv, nsdm, [(3.655,57.985,4.985,58.175), (3.655,59.745,4.985,59.935), (3.655,63.265,4.985,63.455), (3.655,65.025,4.985,65.215), (3.655,68.545,4.985,68.735), (3.655,70.305,4.985,70.495)])
A(sunsar_sardigex4_cv, psdm, 7.615, 21.025, 1.33, 0.19, 1, 6, 0, 7.04)
R(sunsar_sardigex4_cv, psdm, [(7.615,57.985,8.945,58.175), (7.615,59.745,8.945,59.935), (7.615,63.265,8.945,63.455), (7.615,65.025,8.945,65.215), (7.615,68.545,8.945,68.735), (7.615,70.305,8.945,70.495)])
sunsar_sardigex4_cv.add(gdstk.Reference(sunsar_sarmryx1_cv, (0,0)))
sunsar_sardigex4_cv.add(gdstk.Reference(sunsar_swx4_cv, (0,21.12)))
sunsar_sardigex4_cv.add(gdstk.Reference(sunsar_swx4_cv, (0,28.16)))
sunsar_sardigex4_cv.add(gdstk.Reference(sunsar_swx4_cv, (0,35.2)))
sunsar_sardigex4_cv.add(gdstk.Reference(sunsar_swx4_cv, (0,42.24)))
sunsar_sardigex4_cv.add(gdstk.Reference(sunsar_sarcex1_cv, (0,49.28)))
sunsar_sardigex4_cv.add(gdstk.Reference(sunsar_cut_m2m3_2x1, (1.7,11.25)))
sunsar_sardigex4_cv.add(gdstk.Reference(sunsar_cut_m2m3_2x1, (1.7,11.25)))
sunsar_sardigex4_cv.add(gdstk.Reference(sunsar_cut_m2m3_2x1, (1.7,2.45)))
sunsar_sardigex4_cv.add(gdstk.Reference(sunsar_cut_m2m3_2x1, (1.7,2.45)))
sunsar_sardigex4_cv.add(gdstk.Reference(sunsar_cut_m2m3_2x1, (7.82,3.77)))
sunsar_sardigex4_cv.add(gdstk.Reference(sunsar_cut_m1m4_1x2, (6.95,43.06)))
sunsar_sardigex4_cv.add(gdstk.Reference(sunsar_cut_m1m4_1x2, (6.075,36.02)))
sunsar_sardigex4_cv.add(gdstk.Reference(sunsar_cut_m1m4_1x2, (5.275,28.98)))
sunsar_sardigex4_cv.add(gdstk.Reference(sunsar_cut_m1m4_2x1, (1.7,28.85)))
sunsar_sardigex4_cv.add(gdstk.Reference(sunsar_cut_m1m2_2x1, (9.9,53.53)))
sunsar_sardigex4_cv.add(gdstk.Reference(sunsar_cut_m1m2_2x1, (7.74,29.33)))
sunsar_sardigex4_cv.add(gdstk.Reference(sunsar_cut_m1m2_2x1, (3.78,55.73)))
sunsar_sardigex4_cv.add(gdstk.Reference(sunsar_cut_m1m2_2x1, (1.62,62.33)))
sunsar_sardigex4_cv.add(gdstk.Reference(sunsar_cut_m1m2_2x1, (7.74,3.81)))
sunsar_sardigex4_cv.add(gdstk.Reference(sunsar_cut_m1m2_2x1, (9.9,57.05)))
sunsar_sardigex4_cv.add(gdstk.Reference(sunsar_cut_m1m2_2x1, (3.78,15.25)))
sunsar_sardigex4_cv.add(gdstk.Reference(sunsar_cut_m1m2_2x1, (1.62,35.93)))
sunsar_sardigex4_cv.add(gdstk.Reference(sunsar_tapcellb_cv, (0,70.4)))
sunsar_sardigex4_cv.add(gdstk.Reference(sunsar_ivx1_cv, (0,68.64)))
sunsar_sardigex4_cv.add(gdstk.Reference(sunsar_nrx1_cv, (0,65.12)))
sunsar_sardigex4_cv.add(gdstk.Reference(sunsar_ivx1_cv, (0,63.36)))
sunsar_sardigex4_cv.add(gdstk.Reference(sunsar_ndx1_cv, (0,59.84)))
sunsar_sardigex4_cv.add(gdstk.Reference(sunsar_ivx1_cv, (0,58.08)))
sunsar_sardigex4_cv.add(gdstk.Reference(sunsar_ivx1_cv, (0,56.32)))
sunsar_sardigex4_cv.add(gdstk.Label('CMP_OP', (2.2,11.44), layer=69, texttype=5))
sunsar_sardigex4_cv.add(gdstk.Label('CMP_ON', (2.16,16.72), layer=67, texttype=5))
sunsar_sardigex4_cv.add(gdstk.Label('EN', (2.2,2.64), layer=69, texttype=5))
sunsar_sardigex4_cv.add(gdstk.Label('RST_N', (10.44,20.24), layer=67, texttype=5))
sunsar_sardigex4_cv.add(gdstk.Label('ENO', (8.32,3.96), layer=69, texttype=5))
sunsar_sardigex4_cv.add(gdstk.Label('DONE', (4.32,59.4), layer=67, texttype=5))
sunsar_sardigex4_cv.add(gdstk.Label('CP0', (6.265,36.52), layer=70, texttype=5))
sunsar_sardigex4_cv.add(gdstk.Label('CP1', (5.465,29.48), layer=70, texttype=5))
sunsar_sardigex4_cv.add(gdstk.Label('CN0', (7.14,43.56), layer=70, texttype=5))
sunsar_sardigex4_cv.add(gdstk.Label('CN1', (2.2,29.04), layer=70, texttype=5))
sunsar_sardigex4_cv.add(gdstk.Label('CEIN', (2.16,67.76), layer=67, texttype=5))
sunsar_sardigex4_cv.add(gdstk.Label('CEO', (8.28,69.96), layer=67, texttype=5))
sunsar_sardigex4_cv.add(gdstk.Label('CKS', (2.16,51.92), layer=67, texttype=5))
sunsar_sardigex4_cv.add(gdstk.Label('VREF', (11.12,24.55), layer=70, texttype=5))
sunsar_sardigex4_cv.add(gdstk.Label('AVDD', (8.24,36.08), layer=70, texttype=5))
sunsar_sardigex4_cv.add(gdstk.Label('AVSS', (4.28,36.08), layer=70, texttype=5))

lib.write_gds('SUNSAR_SARDIGEX4_CV.gds')
